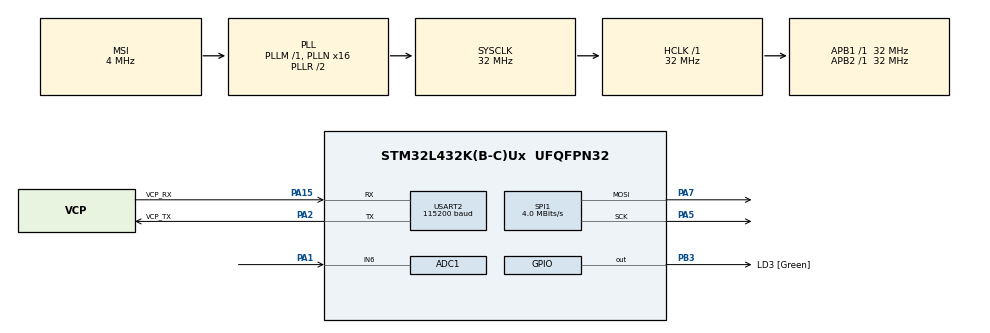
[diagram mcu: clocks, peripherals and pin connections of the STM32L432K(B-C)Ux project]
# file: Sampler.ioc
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ADC1.Channel-0\#ChannelRegularConversion=ADC_CHANNEL_6
ADC1.ClockPrescaler=ADC_CLOCK_ASYNC_DIV64
ADC1.DMAContinuousRequests=ENABLE
ADC1.ExternalTrigConv=ADC_EXTERNALTRIG_T1_TRGO
ADC1.NbrOfConversionFlag=1
ADC1.OffsetNumber-0\#ChannelRegularConversion=ADC_OFFSET_NONE
ADC1.Rank-0\#ChannelRegularConversion=1
ADC1.Resolution=ADC_RESOLUTION_12B
ADC1.SamplingTime-0\#ChannelRegularConversion=ADC_SAMPLETIME_2CYCLES_5
ADC1.master=1
Dma.ADC1.0.Direction=DMA_PERIPH_TO_MEMORY
Dma.ADC1.0.Instance=DMA1_Channel1
Dma.ADC1.0.MemDataAlignment=DMA_MDATAALIGN_HALFWORD
Dma.ADC1.0.MemInc=DMA_MINC_ENABLE
Dma.ADC1.0.Mode=DMA_CIRCULAR
Dma.ADC1.0.PeriphDataAlignment=DMA_PDATAALIGN_HALFWORD
Dma.ADC1.0.PeriphInc=DMA_PINC_DISABLE
Dma.ADC1.0.Priority=DMA_PRIORITY_LOW
Dma.Request0=ADC1
Dma.Request1=SPI1_TX
Dma.Request2=USART2_TX
Dma.SPI1_TX.1.Direction=DMA_MEMORY_TO_PERIPH
Dma.SPI1_TX.1.Instance=DMA2_Channel4
Dma.SPI1_TX.1.MemDataAlignment=DMA_MDATAALIGN_BYTE
Dma.SPI1_TX.1.MemInc=DMA_MINC_ENABLE
Dma.SPI1_TX.1.Mode=DMA_NORMAL
Dma.SPI1_TX.1.PeriphDataAlignment=DMA_PDATAALIGN_BYTE
Dma.SPI1_TX.1.PeriphInc=DMA_PINC_DISABLE
Dma.SPI1_TX.1.Priority=DMA_PRIORITY_LOW
Dma.USART2_TX.2.Direction=DMA_MEMORY_TO_PERIPH
Dma.USART2_TX.2.Instance=DMA1_Channel7
Dma.USART2_TX.2.MemDataAlignment=DMA_MDATAALIGN_BYTE
Dma.USART2_TX.2.MemInc=DMA_MINC_ENABLE
Dma.USART2_TX.2.Mode=DMA_NORMAL
Dma.USART2_TX.2.PeriphDataAlignment=DMA_PDATAALIGN_BYTE
Dma.USART2_TX.2.PeriphInc=DMA_PINC_DISABLE
Dma.USART2_TX.2.Priority=DMA_PRIORITY_LOW
Mcu.Family=STM32L4
Mcu.Name=STM32L432K(B-C)Ux
Mcu.Package=UFQFPN32
NVIC.ADC1_IRQn=true\:0\:0\:false\:false\:true\:true\:true\:true
NVIC.DMA1_Channel1_IRQn=true\:0\:0\:false\:false\:true\:false\:true\:true
NVIC.DMA1_Channel7_IRQn=true\:0\:0\:false\:false\:true\:false\:true\:true
NVIC.DMA2_Channel4_IRQn=true\:0\:0\:false\:false\:true\:false\:true\:true
NVIC.PriorityGroup=NVIC_PRIORITYGROUP_4
NVIC.SPI1_IRQn=true\:0\:0\:false\:false\:true\:true\:true\:true
NVIC.TIM1_BRK_TIM15_IRQn=true\:0\:0\:false\:false\:true\:true\:true\:true
NVIC.TIM1_CC_IRQn=true\:0\:0\:false\:false\:true\:true\:true\:true
NVIC.TIM1_TRG_COM_IRQn=true\:0\:0\:false\:false\:true\:true\:true\:true
NVIC.TIM1_UP_TIM16_IRQn=true\:0\:0\:false\:false\:true\:true\:true\:true
NVIC.USART2_IRQn=true\:0\:0\:false\:false\:true\:true\:true\:true
PA0.GPIO_Label=MCO [High speed clock in]
PA0.Mode=HSE-External-Clock-Source-for-LittleOrca
PA0.Signal=RCC_CK_IN
PA1.Signal=ADCx_IN6
PA13\ (JTMS-SWDIO).GPIO_Label=SWDIO
PA13\ (JTMS-SWDIO).Mode=Serial_Wire
PA13\ (JTMS-SWDIO).Signal=SYS_JTMS-SWDIO
PA14\ (JTCK-SWCLK).GPIO_Label=SWCLK
PA14\ (JTCK-SWCLK).Mode=Serial_Wire
PA14\ (JTCK-SWCLK).Signal=SYS_JTCK-SWCLK
PA15\ (JTDI).GPIO_Label=VCP_RX
PA15\ (JTDI).Mode=Asynchronous
PA15\ (JTDI).Signal=USART2_RX
PA2.GPIO_Label=VCP_TX
PA2.Mode=Asynchronous
PA2.Signal=USART2_TX
PA5.Mode=TX_Only_Simplex_Unidirect_Master
PA5.Signal=SPI1_SCK
PA7.Mode=TX_Only_Simplex_Unidirect_Master
PA7.Signal=SPI1_MOSI
PB3\ (JTDO-TRACESWO).GPIO_Label=LD3 [Green]
PB3\ (JTDO-TRACESWO).Signal=GPIO_Output
PC14-OSC32_IN\ (PC14).Mode=LSE-External-Oscillator
PC14-OSC32_IN\ (PC14).Signal=RCC_OSC32_IN
PC15-OSC32_OUT\ (PC15).Mode=LSE-External-Oscillator
PC15-OSC32_OUT\ (PC15).Signal=RCC_OSC32_OUT
ProjectManager.HeapSize=0x200
ProjectManager.StackSize=0x400
ProjectManager.TargetToolchain=STM32CubeIDE
RCC.ADCFreq_Value=32000000
RCC.AHBFreq_Value=32000000
RCC.APB1Freq_Value=32000000
RCC.APB1TimFreq_Value=32000000
RCC.APB2Freq_Value=32000000
RCC.APB2TimFreq_Value=32000000
RCC.CortexFreq_Value=32000000
RCC.HCLKFreq_Value=32000000
RCC.HSE_VALUE=8000000
RCC.HSI16_VALUE=16000000
RCC.HSI48_VALUE=48000000
RCC.HSI_VALUE=16000000
RCC.MSI_VALUE=4000000
RCC.PLLMUL=RCC_PLLMUL_4
RCC.PLLN=16
RCC.PLLSAI1N=16
RCC.SYSCLKFreq_VALUE=32000000
RCC.SYSCLKSource=RCC_SYSCLKSOURCE_PLLCLK
RCC.USBFreq_Value=32000000
RCC.VCOOutputFreq_Value=64000000
SH.ADCx_IN6.0=ADC1_IN6,IN6-Single-Ended
SPI1.BaudRatePrescaler=SPI_BAUDRATEPRESCALER_8
SPI1.CRCCalculation=SPI_CRCCALCULATION_DISABLE
SPI1.CalculateBaudRate=4.0 MBits/s
SPI1.DataSize=SPI_DATASIZE_16BIT
SPI1.Direction=SPI_DIRECTION_2LINES
SPI1.Mode=SPI_MODE_MASTER
SPI1.VirtualType=VM_MASTER
TIM1.Period=28
TIM1.Prescaler=24
TIM1.TIM_MasterOutputTrigger=TIM_TRGO_UPDATE
TIM1.TIM_MasterOutputTrigger2=TIM_TRGO2_UPDATE
USART2.BaudRate=115200
USART2.VirtualMode-Asynchronous=VM_ASYNC
VP_TIM1_VS_ClockSourceINT.Mode=Internal
board=NUCLEO-L432KC

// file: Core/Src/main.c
/* USER CODE BEGIN Header */
/**
  ******************************************************************************
  * @file           : main.c
  * @brief          : Main program body
  ******************************************************************************
  * @attention
  *
  * Copyright (c) 2025 STMicroelectronics.
  * All rights reserved.
  *
  * This software is licensed under terms that can be found in the LICENSE file
  * in the root directory of this software component.
  * If no LICENSE file comes with this software, it is provided AS-IS.
  *
  ******************************************************************************
  */
/* USER CODE END Header */
#include "main.h"

/* USER CODE BEGIN Includes */
#include <stdio.h>
#include <string.h>

/* USER CODE END Includes */

ADC_HandleTypeDef hadc1;
DMA_HandleTypeDef hdma_adc1;

SPI_HandleTypeDef hspi1;
DMA_HandleTypeDef hdma_spi1_tx;

TIM_HandleTypeDef htim1;

UART_HandleTypeDef huart2;
DMA_HandleTypeDef hdma_usart2_tx;

/* USER CODE BEGIN PV */
#define BUFFER_SIZE 500
volatile uint8_t isReady = 0;
volatile uint8_t isTransmit = 1;
volatile uint8_t phase = 0;
uint16_t adc_buffer[BUFFER_SIZE];
uint16_t spi_tx_buffer0[BUFFER_SIZE / 2];
uint16_t spi_tx_buffer1[BUFFER_SIZE / 2];
char uart_msg[64];

/* USER CODE END PV */

void SystemClock_Config(void);
static void MX_GPIO_Init(void);
static void MX_DMA_Init(void);
static void MX_USART2_UART_Init(void);
static void MX_ADC1_Init(void);
static void MX_TIM1_Init(void);
static void MX_SPI1_Init(void);

/* USER CODE BEGIN 0 */
void HAL_ADC_ConvHalfCpltCallback(ADC_HandleTypeDef* hadc)
{
    if (hadc->Instance == ADC1)
    {

        phase = 0;
//        spi_tx_buffer0[0] = 0x00FF;
        for (int i = 0; i < BUFFER_SIZE / 2; ++i)
        {
//            spi_tx_buffer0[i + 1] = adc_buffer[i];
        	spi_tx_buffer0[i] = adc_buffer[i];
//        	spi_tx_buffer0[i] = i;
        }
        isReady = 1;

    }
}

void HAL_ADC_ConvCpltCallback(ADC_HandleTypeDef* hadc)
{
    if (hadc->Instance == ADC1)
    {
        phase = 1;
//        spi_tx_buffer1[0] = 0x00FF;
        for (int i = 0; i < BUFFER_SIZE / 2; ++i)
        {
//            spi_tx_buffer1[i + 1] = adc_buffer[i + BUFFER_SIZE / 2];
        	spi_tx_buffer1[i] = adc_buffer[i + BUFFER_SIZE / 2];
//        	spi_tx_buffer1[i] = i + BUFFER_SIZE / 2;
        }
        isReady = 1;
    }
}

void HAL_SPI_TxCpltCallback(SPI_HandleTypeDef *hspi)
{
    if (hspi->Instance == SPI1)
    {

    	isTransmit = 1;
    }
}
/* USER CODE END 0 */

int main(void)
{

  /* MCU Configuration--------------------------------------------------------*/

  /* Reset of all peripherals, Initializes the Flash interface and the Systick. */
  HAL_Init();

  /* Configure the system clock */
  SystemClock_Config();

  /* Initialize all configured peripherals */
  MX_GPIO_Init();
  MX_DMA_Init();
  MX_USART2_UART_Init();
  MX_ADC1_Init();
  MX_TIM1_Init();
  MX_SPI1_Init();
  /* USER CODE BEGIN 2 */
  HAL_ADC_Start_DMA(&hadc1, (uint32_t*)adc_buffer, BUFFER_SIZE);
  HAL_TIM_Base_Start_IT(&htim1);
  /* USER CODE END 2 */

  /* Infinite loop */
  /* USER CODE BEGIN WHILE */
  while (1)
  {
	  if (isReady && isTransmit) {
	  		isReady = 0;
	  		if (phase == 0) {
	  			HAL_SPI_Transmit_DMA(&hspi1, (uint8_t*)spi_tx_buffer0, BUFFER_SIZE);
	  			isTransmit = 0;
//		  	    uint16_t first_adc_value = spi_tx_buffer0[0];
//		  	    sprintf(uart_msg, "ADC Value A0: %u\r\n", first_adc_value);
//		  	    HAL_UART_Transmit(&huart2, (uint8_t*)uart_msg, strlen(uart_msg), HAL_MAX_DELAY);
//		  	    first_adc_value = spi_tx_buffer0[1];
//		  	    sprintf(uart_msg, "ADC Value A1: %u\r\n", first_adc_value);
//		  	  	HAL_UART_Transmit(&huart2, (uint8_t*)uart_msg, strlen(uart_msg), HAL_MAX_DELAY);
//		  	  	first_adc_value = spi_tx_buffer0[2];
//		  	    sprintf(uart_msg, "ADC Value A2: %u\r\n", first_adc_value);
//		  	  	HAL_UART_Transmit(&huart2, (uint8_t*)uart_msg, strlen(uart_msg), HAL_MAX_DELAY);
	  		} else {
	  			HAL_SPI_Transmit_DMA(&hspi1, (uint8_t*)spi_tx_buffer1, BUFFER_SIZE);
	  			isTransmit = 0;
//	  			uint16_t first_adc_value = spi_tx_buffer1[0];
//				sprintf(uart_msg, "ADC Value B0: %u\r\n", first_adc_value);
//				HAL_UART_Transmit(&huart2, (uint8_t*)uart_msg, strlen(uart_msg), HAL_MAX_DELAY);
//	  			first_adc_value = spi_tx_buffer1[1];
//				sprintf(uart_msg, "ADC Value B1: %u\r\n", first_adc_value);
//				HAL_UART_Transmit(&huart2, (uint8_t*)uart_msg, strlen(uart_msg), HAL_MAX_DELAY);
//	  			first_adc_value = spi_tx_buffer1[2];
//				sprintf(uart_msg, "ADC Value B2: %u\r\n", first_adc_value);
//				HAL_UART_Transmit(&huart2, (uint8_t*)uart_msg, strlen(uart_msg), HAL_MAX_DELAY);
	  		}

	  		isTransmit = 1;

	  }
    /* USER CODE END WHILE */

  }
}

void SystemClock_Config(void)
{
  RCC_OscInitTypeDef RCC_OscInitStruct = {0};
  RCC_ClkInitTypeDef RCC_ClkInitStruct = {0};

  /** Configure the main internal regulator output voltage
  */
  if (HAL_PWREx_ControlVoltageScaling(PWR_REGULATOR_VOLTAGE_SCALE1) != HAL_OK)
  {
    Error_Handler();
  }

  /** Configure LSE Drive Capability
  */
  HAL_PWR_EnableBkUpAccess();
  __HAL_RCC_LSEDRIVE_CONFIG(RCC_LSEDRIVE_LOW);

  /** Initializes the RCC Oscillators according to the specified parameters
  * in the RCC_OscInitTypeDef structure.
  */
  RCC_OscInitStruct.OscillatorType = RCC_OSCILLATORTYPE_LSE|RCC_OSCILLATORTYPE_MSI;
  RCC_OscInitStruct.LSEState = RCC_LSE_ON;
  RCC_OscInitStruct.MSIState = RCC_MSI_ON;
  RCC_OscInitStruct.MSICalibrationValue = 0;
  RCC_OscInitStruct.MSIClockRange = RCC_MSIRANGE_6;
  RCC_OscInitStruct.PLL.PLLState = RCC_PLL_ON;
  RCC_OscInitStruct.PLL.PLLSource = RCC_PLLSOURCE_MSI;
  RCC_OscInitStruct.PLL.PLLM = 1;
  RCC_OscInitStruct.PLL.PLLN = 16;
  RCC_OscInitStruct.PLL.PLLP = RCC_PLLP_DIV7;
  RCC_OscInitStruct.PLL.PLLQ = RCC_PLLQ_DIV2;
  RCC_OscInitStruct.PLL.PLLR = RCC_PLLR_DIV2;
  if (HAL_RCC_OscConfig(&RCC_OscInitStruct) != HAL_OK)
  {
    Error_Handler();
  }

  /** Initializes the CPU, AHB and APB buses clocks
  */
  RCC_ClkInitStruct.ClockType = RCC_CLOCKTYPE_HCLK|RCC_CLOCKTYPE_SYSCLK
                              |RCC_CLOCKTYPE_PCLK1|RCC_CLOCKTYPE_PCLK2;
  RCC_ClkInitStruct.SYSCLKSource = RCC_SYSCLKSOURCE_PLLCLK;
  RCC_ClkInitStruct.AHBCLKDivider = RCC_SYSCLK_DIV1;
  RCC_ClkInitStruct.APB1CLKDivider = RCC_HCLK_DIV1;
  RCC_ClkInitStruct.APB2CLKDivider = RCC_HCLK_DIV1;

  if (HAL_RCC_ClockConfig(&RCC_ClkInitStruct, FLASH_LATENCY_1) != HAL_OK)
  {
    Error_Handler();
  }

  /** Enable MSI Auto calibration
  */
  HAL_RCCEx_EnableMSIPLLMode();
}

static void MX_ADC1_Init(void)
{

  ADC_ChannelConfTypeDef sConfig = {0};

  /** Common config
  */
  hadc1.Instance = ADC1;
  hadc1.Init.ClockPrescaler = ADC_CLOCK_ASYNC_DIV64;
  hadc1.Init.Resolution = ADC_RESOLUTION_12B;
  hadc1.Init.DataAlign = ADC_DATAALIGN_RIGHT;
  hadc1.Init.ScanConvMode = ADC_SCAN_DISABLE;
  hadc1.Init.EOCSelection = ADC_EOC_SINGLE_CONV;
  hadc1.Init.LowPowerAutoWait = DISABLE;
  hadc1.Init.ContinuousConvMode = DISABLE;
  hadc1.Init.NbrOfConversion = 1;
  hadc1.Init.DiscontinuousConvMode = DISABLE;
  hadc1.Init.ExternalTrigConv = ADC_EXTERNALTRIG_T1_TRGO;
  hadc1.Init.ExternalTrigConvEdge = ADC_EXTERNALTRIGCONVEDGE_RISING;
  hadc1.Init.DMAContinuousRequests = ENABLE;
  hadc1.Init.Overrun = ADC_OVR_DATA_PRESERVED;
  hadc1.Init.OversamplingMode = DISABLE;
  if (HAL_ADC_Init(&hadc1) != HAL_OK)
  {
    Error_Handler();
  }

  /** Configure Regular Channel
  */
  sConfig.Channel = ADC_CHANNEL_6;
  sConfig.Rank = ADC_REGULAR_RANK_1;
  sConfig.SamplingTime = ADC_SAMPLETIME_2CYCLES_5;
  sConfig.SingleDiff = ADC_SINGLE_ENDED;
  sConfig.OffsetNumber = ADC_OFFSET_NONE;
  sConfig.Offset = 0;
  if (HAL_ADC_ConfigChannel(&hadc1, &sConfig) != HAL_OK)
  {
    Error_Handler();
  }

}

static void MX_SPI1_Init(void)
{

  /* SPI1 parameter configuration*/
  hspi1.Instance = SPI1;
  hspi1.Init.Mode = SPI_MODE_MASTER;
  hspi1.Init.Direction = SPI_DIRECTION_2LINES;
  hspi1.Init.DataSize = SPI_DATASIZE_16BIT;
  hspi1.Init.CLKPolarity = SPI_POLARITY_LOW;
  hspi1.Init.CLKPhase = SPI_PHASE_1EDGE;
  hspi1.Init.NSS = SPI_NSS_SOFT;
  hspi1.Init.BaudRatePrescaler = SPI_BAUDRATEPRESCALER_8;
  hspi1.Init.FirstBit = SPI_FIRSTBIT_MSB;
  hspi1.Init.TIMode = SPI_TIMODE_DISABLE;
  hspi1.Init.CRCCalculation = SPI_CRCCALCULATION_DISABLE;
  hspi1.Init.CRCPolynomial = 7;
  hspi1.Init.CRCLength = SPI_CRC_LENGTH_DATASIZE;
  hspi1.Init.NSSPMode = SPI_NSS_PULSE_ENABLE;
  if (HAL_SPI_Init(&hspi1) != HAL_OK)
  {
    Error_Handler();
  }

}

static void MX_TIM1_Init(void)
{

  TIM_ClockConfigTypeDef sClockSourceConfig = {0};
  TIM_MasterConfigTypeDef sMasterConfig = {0};

  htim1.Instance = TIM1;
  htim1.Init.Prescaler = 24;
  htim1.Init.CounterMode = TIM_COUNTERMODE_UP;
  htim1.Init.Period = 28;
  htim1.Init.ClockDivision = TIM_CLOCKDIVISION_DIV1;
  htim1.Init.RepetitionCounter = 0;
  htim1.Init.AutoReloadPreload = TIM_AUTORELOAD_PRELOAD_DISABLE;
  if (HAL_TIM_Base_Init(&htim1) != HAL_OK)
  {
    Error_Handler();
  }
  sClockSourceConfig.ClockSource = TIM_CLOCKSOURCE_INTERNAL;
  if (HAL_TIM_ConfigClockSource(&htim1, &sClockSourceConfig) != HAL_OK)
  {
    Error_Handler();
  }
  sMasterConfig.MasterOutputTrigger = TIM_TRGO_UPDATE;
  sMasterConfig.MasterOutputTrigger2 = TIM_TRGO2_UPDATE;
  sMasterConfig.MasterSlaveMode = TIM_MASTERSLAVEMODE_DISABLE;
  if (HAL_TIMEx_MasterConfigSynchronization(&htim1, &sMasterConfig) != HAL_OK)
  {
    Error_Handler();
  }

}

static void MX_USART2_UART_Init(void)
{

  huart2.Instance = USART2;
  huart2.Init.BaudRate = 115200;
  huart2.Init.WordLength = UART_WORDLENGTH_8B;
  huart2.Init.StopBits = UART_STOPBITS_1;
  huart2.Init.Parity = UART_PARITY_NONE;
  huart2.Init.Mode = UART_MODE_TX_RX;
  huart2.Init.HwFlowCtl = UART_HWCONTROL_NONE;
  huart2.Init.OverSampling = UART_OVERSAMPLING_16;
  huart2.Init.OneBitSampling = UART_ONE_BIT_SAMPLE_DISABLE;
  huart2.AdvancedInit.AdvFeatureInit = UART_ADVFEATURE_NO_INIT;
  if (HAL_UART_Init(&huart2) != HAL_OK)
  {
    Error_Handler();
  }

}

static void MX_DMA_Init(void)
{

  /* DMA controller clock enable */
  __HAL_RCC_DMA1_CLK_ENABLE();
  __HAL_RCC_DMA2_CLK_ENABLE();

  /* DMA interrupt init */
  /* DMA1_Channel1_IRQn interrupt configuration */
  HAL_NVIC_SetPriority(DMA1_Channel1_IRQn, 0, 0);
  HAL_NVIC_EnableIRQ(DMA1_Channel1_IRQn);
  /* DMA1_Channel7_IRQn interrupt configuration */
  HAL_NVIC_SetPriority(DMA1_Channel7_IRQn, 0, 0);
  HAL_NVIC_EnableIRQ(DMA1_Channel7_IRQn);
  /* DMA2_Channel4_IRQn interrupt configuration */
  HAL_NVIC_SetPriority(DMA2_Channel4_IRQn, 0, 0);
  HAL_NVIC_EnableIRQ(DMA2_Channel4_IRQn);

}

static void MX_GPIO_Init(void)
{
  GPIO_InitTypeDef GPIO_InitStruct = {0};

  /* GPIO Ports Clock Enable */
  __HAL_RCC_GPIOC_CLK_ENABLE();
  __HAL_RCC_GPIOA_CLK_ENABLE();
  __HAL_RCC_GPIOB_CLK_ENABLE();

  /*Configure GPIO pin Output Level */
  HAL_GPIO_WritePin(LD3_GPIO_Port, LD3_Pin, GPIO_PIN_RESET);

  /*Configure GPIO pin : LD3_Pin */
  GPIO_InitStruct.Pin = LD3_Pin;
  GPIO_InitStruct.Mode = GPIO_MODE_OUTPUT_PP;
  GPIO_InitStruct.Pull = GPIO_NOPULL;
  GPIO_InitStruct.Speed = GPIO_SPEED_FREQ_LOW;
  HAL_GPIO_Init(LD3_GPIO_Port, &GPIO_InitStruct);

}

void Error_Handler(void)
{
  __disable_irq();
  while (1)
  {
  }
}
